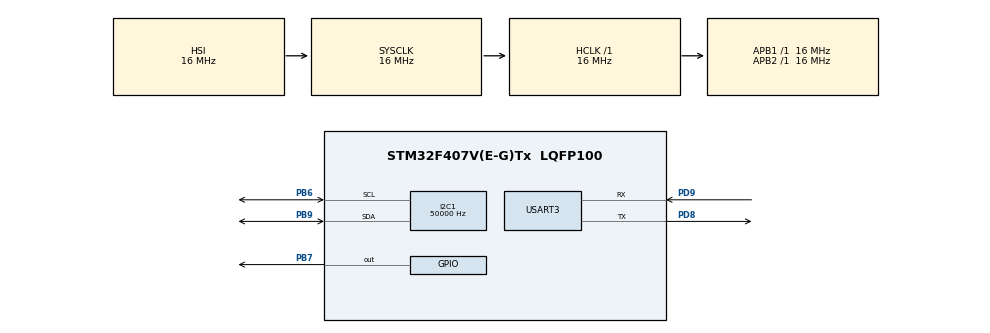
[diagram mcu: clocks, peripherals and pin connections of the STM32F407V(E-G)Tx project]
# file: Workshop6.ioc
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I2C1.AddressingMode=I2C_ADDRESSINGMODE_7BIT
I2C1.ClockSpeed=50000
Mcu.Family=STM32F4
Mcu.Name=STM32F407V(E-G)Tx
Mcu.Package=LQFP100
NVIC.PriorityGroup=NVIC_PRIORITYGROUP_4
PB6.Mode=I2C
PB6.Signal=I2C1_SCL
PB7.Signal=GPIO_Output
PB9.Mode=I2C
PB9.Signal=I2C1_SDA
PD8.Mode=Asynchronous
PD8.Signal=USART3_TX
PD9.Mode=Asynchronous
PD9.Signal=USART3_RX
ProjectManager.HeapSize=0x200
ProjectManager.StackSize=0x400
ProjectManager.TargetToolchain=STM32CubeIDE
RCC.AHBFreq_Value=16000000
RCC.APB1Freq_Value=16000000
RCC.APB2Freq_Value=16000000
RCC.CortexFreq_Value=16000000
RCC.HSE_VALUE=25000000
RCC.HSI_VALUE=16000000
RCC.LSE_VALUE=32768
RCC.SYSCLKFreq_VALUE=16000000
RCC.VCOOutputFreq_Value=192000000
USART3.VirtualMode=VM_ASYNC
board=custom

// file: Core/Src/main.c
/* USER CODE BEGIN Header */
/**
  ******************************************************************************
  * @file           : main.c
  * @brief          : Main program body
  ******************************************************************************
  * @attention
  *
  * <h2><center>&copy; Copyright (c) 2021 STMicroelectronics.
  * All rights reserved.</center></h2>
  *
  * This software component is licensed by ST under BSD 3-Clause license,
  * the "License"; You may not use this file except in compliance with the
  * License. You may obtain a copy of the License at:
  *                        opensource.org/licenses/BSD-3-Clause
  *
  ******************************************************************************
  */
/* USER CODE END Header */
#include "main.h"

/* USER CODE BEGIN Includes */

#include "pca9685.h"

/* USER CODE END Includes */

I2C_HandleTypeDef hi2c1;

UART_HandleTypeDef huart3;

void SystemClock_Config(void);
static void MX_GPIO_Init(void);
static void MX_I2C1_Init(void);
static void MX_USART3_UART_Init(void);

/* USER CODE BEGIN 0 */

// char to int
int ctoi(char c)
{
	return c - '0';
}

/* USER CODE END 0 */

int main(void)
{

  /* MCU Configuration--------------------------------------------------------*/

  /* Reset of all peripherals, Initializes the Flash interface and the Systick. */
  HAL_Init();

  /* Configure the system clock */
  SystemClock_Config();

  /* Initialize all configured peripherals */
  MX_GPIO_Init();
  MX_I2C1_Init();
  MX_USART3_UART_Init();

  /* Infinite loop */
  /* USER CODE BEGIN WHILE */

  HAL_Delay(10);

  if (pcaInit(hi2c1))
	  HAL_UART_Transmit(&huart3, (uint8_t *)"\r\n\nINITIALIZATION SUCCEED\r\n", 28, 10);
  else
	  HAL_UART_Transmit(&huart3, (uint8_t *)"\r\n\nINITIALIZATION FAILED\r\n", 27, 10);

  uint8_t rcvBuf;
  HAL_StatusTypeDef result;

  while (1)
  {
	  HAL_UART_Transmit(&huart3, (uint8_t *)"\r\n\nMENU:\r\n"
			  "1. ENABLE ALL OUTPUTS\r\n"
			  "2. DISABLE ALL OUTPUTS\r\n"
			  "3. ENABLE SLEEP MODE\r\n"
			  "4. DISABLE SLEEP MODE\r\n"
			  "5. SET FREQUENCY\r\n"
			  "6. SET DUTY CYCLE\r\n"
			  "ENTER NUMBER 1 - 6\r\n", 159, 100);

	  result = HAL_UART_Receive(&huart3, &rcvBuf, 1, 1000000);

	  if (result == HAL_OK)
	  {
		  switch (rcvBuf)
		  {
		  case '1':	// Enable all outputs
			  if (pcaEnableAllOutputs(hi2c1))
				  HAL_UART_Transmit(&huart3, (uint8_t *)"ALL OUTPUTS ENABLED\r\n", 21, 10);
			  else
				  HAL_UART_Transmit(&huart3, (uint8_t *)"FAILED ENABLING ALL OUTPUTS\r\n", 29, 10);
			  break;
		  case '2':	// Disable all outputs
			  if (pcaDisableAllOutputs(hi2c1))
				  HAL_UART_Transmit(&huart3, (uint8_t *)"ALL OUTPUTS DISABLED\r\n", 22, 10);
			  else
				  HAL_UART_Transmit(&huart3, (uint8_t *)"FAILED DISABLING ALL OUTPUTS\r\n", 30, 10);
			  break;
		  case '3':	// Enable sleep mode
			  if (!pcaIsSleeping(hi2c1))
			  {
				  if (pcaEnableSleepMode(hi2c1))
					  HAL_UART_Transmit(&huart3, (uint8_t *)"SLEEP MODE ENABLED\r\n", 21, 10);
				  else
					  HAL_UART_Transmit(&huart3, (uint8_t *)"FAILED ENABLING SLEEP MODE\r\n", 28, 10);
			  }
			  else
				  HAL_UART_Transmit(&huart3, (uint8_t *)"SLEEP MODE ALREADY ENABLED\r\n", 29, 10);
			  break;
		  case '4':	// Disable sleep mode
			  if (pcaIsSleeping(hi2c1))
			  {
				  if (pcaDisableSleepMode(hi2c1))
					  HAL_UART_Transmit(&huart3, (uint8_t *)"SLEEP MODE DISABLED\r\n", 22, 10);
				  else
					  HAL_UART_Transmit(&huart3, (uint8_t *)"FAILED DISABLING SLEEP MODE\r\n", 29, 10);
			  }
			  else
				  HAL_UART_Transmit(&huart3, (uint8_t *)"SLEEP MODE ALREADY DISABLED\r\n", 30, 10);
			  break;
		  case '5':	// Set frequency
			  HAL_UART_Transmit(&huart3, (uint8_t *)"ENTER NEW FREQUENCY 24 - 1 526\r\n", 36, 10);
			  uint32_t newFrequency = 0;
			  while (1)
			  {
				  result = HAL_UART_Receive(&huart3, &rcvBuf, 1, 10);
				  if (result == HAL_OK)
				  {
					  if (rcvBuf >= '0' && rcvBuf <= '9')
					  {
						  newFrequency = newFrequency * 10 + ctoi(rcvBuf);
						  HAL_UART_Transmit(&huart3, (uint8_t *)&rcvBuf, 1, 10);
					  }
					  else if (rcvBuf == '\r' && newFrequency >= 24)
					  {
						  if (pcaSetFrequency(hi2c1, newFrequency))
						  	  HAL_UART_Transmit(&huart3, (uint8_t *)"\r\nFREQUENCY IS SET\r\n", 20, 10);
						  else
							  HAL_UART_Transmit(&huart3, (uint8_t *)"\r\nFAILED IN SETTING FREQUENCY\r\n", 31, 10);
						  break;
					  }
					  else
					  {
						  HAL_UART_Transmit(&huart3, (uint8_t *)" ENTER CORRECT NUMBER\r\n", 23, 10);
						  break;
					  }
				  }
				  if (newFrequency > 1526)
				  {
					  HAL_UART_Transmit(&huart3, (uint8_t *)" ENTER NUMBER <1 526\r\n", 22, 10);
					  break;
				  }
			  }
			  break;
		  case '6':	// Set duty cycle to channel
			  HAL_UART_Transmit(&huart3, (uint8_t *)"ENTER CHANNEL 1-16\r\n", 20, 10);
			  uint8_t channelToSet = 0;
			  while (1)
			  {
				  result = HAL_UART_Receive(&huart3, &rcvBuf, 1, 1000);
				  if (result == HAL_OK)
				  {
					  if (rcvBuf >= '0' && rcvBuf <= '9')
					  {
						  channelToSet = channelToSet * 10 + ctoi(rcvBuf);
						  HAL_UART_Transmit(&huart3, (uint8_t *)&rcvBuf, 1, 10);
					  }
					  else if (rcvBuf == '\r' && channelToSet > 0)
					  {
						  HAL_UART_Transmit(&huart3, (uint8_t *)"\r\nENTER NEW DUTY CYCLE 0 - 100\r\n", 32, 10);
						  uint8_t newDutyCycle = 0;
						  while (1)
						  {
							  result = HAL_UART_Receive(&huart3, &rcvBuf, 1, 1000);
							  if (result == HAL_OK)
							  {
								  if (rcvBuf >= '0' && rcvBuf <= '9')
								  {
									  newDutyCycle = newDutyCycle * 10 + ctoi(rcvBuf);
									  HAL_UART_Transmit(&huart3, (uint8_t *)&rcvBuf, 1, 10);
								  }
								  else if (rcvBuf == '\r' && newDutyCycle >= 0)
								  {
									  if (pcaSetDutyCycle(hi2c1, channelToSet, newDutyCycle))
									  	  HAL_UART_Transmit(&huart3, (uint8_t *)"\r\nDUTY CYCLE IS SET\r\n", 21, 10);
									  else
										  HAL_UART_Transmit(&huart3,
												  (uint8_t *)"\r\nFAILED IN SETTING DUTY CYCLE\r\n", 32, 10);
									  break;
								  }
								  else
								  {
									  HAL_UART_Transmit(&huart3, (uint8_t *)" ENTER CORRECT NUMBER\r\n", 23, 10);
									  break;
								  }
							  }
							  if (newDutyCycle > 100)
							  {
								  HAL_UART_Transmit(&huart3, (uint8_t *)" ENTER NUMBER <100\r\n", 20, 10);
								  break;
							  }
						  }
						  break;
					  }
					  else
					  {
						  HAL_UART_Transmit(&huart3, (uint8_t *)" ENTER CORRECT NUMBER\r\n", 23, 10);
						  break;
					  }
				  }
				  if (channelToSet > 16)
				  {
					  HAL_UART_Transmit(&huart3, (uint8_t *)" ENTER NUMBER <16\r\n", 19, 10);
					  break;
				  }
			  }
			  break;
		  default:
			  HAL_UART_Transmit(&huart3, (uint8_t *)"WRONG KEY\r\n", 11, 10);
			  break;
		  }
		  HAL_Delay(1000);
	  }

    /* USER CODE END WHILE */

  }
}

void SystemClock_Config(void)
{
  RCC_OscInitTypeDef RCC_OscInitStruct = {0};
  RCC_ClkInitTypeDef RCC_ClkInitStruct = {0};

  /** Configure the main internal regulator output voltage
  */
  __HAL_RCC_PWR_CLK_ENABLE();
  __HAL_PWR_VOLTAGESCALING_CONFIG(PWR_REGULATOR_VOLTAGE_SCALE1);
  /** Initializes the RCC Oscillators according to the specified parameters
  * in the RCC_OscInitTypeDef structure.
  */
  RCC_OscInitStruct.OscillatorType = RCC_OSCILLATORTYPE_HSI;
  RCC_OscInitStruct.HSIState = RCC_HSI_ON;
  RCC_OscInitStruct.HSICalibrationValue = RCC_HSICALIBRATION_DEFAULT;
  RCC_OscInitStruct.PLL.PLLState = RCC_PLL_NONE;
  if (HAL_RCC_OscConfig(&RCC_OscInitStruct) != HAL_OK)
  {
    Error_Handler();
  }
  /** Initializes the CPU, AHB and APB buses clocks
  */
  RCC_ClkInitStruct.ClockType = RCC_CLOCKTYPE_HCLK|RCC_CLOCKTYPE_SYSCLK
                              |RCC_CLOCKTYPE_PCLK1|RCC_CLOCKTYPE_PCLK2;
  RCC_ClkInitStruct.SYSCLKSource = RCC_SYSCLKSOURCE_HSI;
  RCC_ClkInitStruct.AHBCLKDivider = RCC_SYSCLK_DIV1;
  RCC_ClkInitStruct.APB1CLKDivider = RCC_HCLK_DIV1;
  RCC_ClkInitStruct.APB2CLKDivider = RCC_HCLK_DIV1;

  if (HAL_RCC_ClockConfig(&RCC_ClkInitStruct, FLASH_LATENCY_0) != HAL_OK)
  {
    Error_Handler();
  }
}

static void MX_I2C1_Init(void)
{

  hi2c1.Instance = I2C1;
  hi2c1.Init.ClockSpeed = 50000;
  hi2c1.Init.DutyCycle = I2C_DUTYCYCLE_2;
  hi2c1.Init.OwnAddress1 = 0;
  hi2c1.Init.AddressingMode = I2C_ADDRESSINGMODE_7BIT;
  hi2c1.Init.DualAddressMode = I2C_DUALADDRESS_DISABLE;
  hi2c1.Init.OwnAddress2 = 0;
  hi2c1.Init.GeneralCallMode = I2C_GENERALCALL_DISABLE;
  hi2c1.Init.NoStretchMode = I2C_NOSTRETCH_DISABLE;
  if (HAL_I2C_Init(&hi2c1) != HAL_OK)
  {
    Error_Handler();
  }

}

static void MX_USART3_UART_Init(void)
{

  huart3.Instance = USART3;
  huart3.Init.BaudRate = 115200;
  huart3.Init.WordLength = UART_WORDLENGTH_8B;
  huart3.Init.StopBits = UART_STOPBITS_1;
  huart3.Init.Parity = UART_PARITY_NONE;
  huart3.Init.Mode = UART_MODE_TX_RX;
  huart3.Init.HwFlowCtl = UART_HWCONTROL_NONE;
  huart3.Init.OverSampling = UART_OVERSAMPLING_16;
  if (HAL_UART_Init(&huart3) != HAL_OK)
  {
    Error_Handler();
  }

}

static void MX_GPIO_Init(void)
{
  GPIO_InitTypeDef GPIO_InitStruct = {0};

  /* GPIO Ports Clock Enable */
  __HAL_RCC_GPIOD_CLK_ENABLE();
  __HAL_RCC_GPIOB_CLK_ENABLE();

  /*Configure GPIO pin Output Level */
  HAL_GPIO_WritePin(GPIOB, GPIO_PIN_7, GPIO_PIN_RESET);

  /*Configure GPIO pin : PB7 */
  GPIO_InitStruct.Pin = GPIO_PIN_7;
  GPIO_InitStruct.Mode = GPIO_MODE_OUTPUT_PP;
  GPIO_InitStruct.Pull = GPIO_NOPULL;
  GPIO_InitStruct.Speed = GPIO_SPEED_FREQ_LOW;
  HAL_GPIO_Init(GPIOB, &GPIO_InitStruct);

}

void Error_Handler(void)
{
  __disable_irq();
  while (1)
  {
  }
}

/************************ (C) COPYRIGHT STMicroelectronics *****END OF FILE****/
